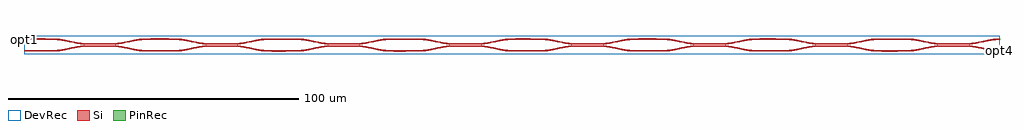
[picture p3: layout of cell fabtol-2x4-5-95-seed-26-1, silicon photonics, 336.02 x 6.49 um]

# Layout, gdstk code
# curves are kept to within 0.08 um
import gdstk
lib = gdstk.Library(unit=1e-6, precision=1e-09)
def R(c, l, rs):  # rectangles x0, y0, x1, y1
    for r in rs: c.add(gdstk.rectangle(r[:2], r[2:], *l))
def P(c, l, *ps):  # polygons
    for p in ps: c.add(gdstk.Polygon(p, *l))
Si = (1, 0)
PinRec = (1, 10)
DevRec = (68, 0)

layer_3_0_phase_sec_0_34 = lib.new_cell('layer-3_0_phase_sec_0$34')
P(layer_3_0_phase_sec_0_34, Si, [(2.728,-0.243),(0,-0.225),(0,0.225),(10,0.225),(10,-0.225)])

layer_0_0_phase_sec_0_34 = lib.new_cell('layer-0_0_phase_sec_0$34')
P(layer_0_0_phase_sec_0_34, Si, [(5.807,-0.242),(0,-0.225),(0,0.225),(10,0.225),(10,-0.225)])

layer_2_0_phase_sec_2_34 = lib.new_cell('layer-2_0_phase_sec_2$34')
P(layer_2_0_phase_sec_2_34, Si, [(7.739,-0.243),(0,-0.225),(0,0.225),(10,0.225),(10,-0.225)])

layer_0_0_phase_sec_1_34 = lib.new_cell('layer-0_0_phase_sec_1$34')
P(layer_0_0_phase_sec_1_34, Si, [(3.482,-0.227),(0,-0.225),(0,0.225),(10,0.225),(10,-0.225)])

layer_2_0_phase_sec_3_34 = lib.new_cell('layer-2_0_phase_sec_3$34')
P(layer_2_0_phase_sec_3_34, Si, [(1.058,-0.236),(0,-0.225),(0,0.225),(10,0.225),(10,-0.225)])

dc_arm_down_34 = lib.new_cell('dc_arm_down$34')
R(dc_arm_down_34, Si, [(12,-0.55,20,-0.1)])
P(dc_arm_down_34, Si, [(32,-2.225),(30.861,-2.188),(29.344,-2.033),(22.966,-0.793),(21.481,-0.613),(20,-0.55),(20,-0.1),(21.139,-0.137),(22.656,-0.292),(29.034,-1.532),(30.519,-1.712),(32,-1.775)],
  [(0,-2.225),(0,-1.775),(1.481,-1.712),(2.966,-1.532),(9.344,-0.292),(10.861,-0.137),(12,-0.1),(12,-0.55),(10.519,-0.613),(9.034,-0.793),(2.656,-2.033),(1.139,-2.188)])

dc_arm_up_34 = lib.new_cell('dc_arm_up$34')
R(dc_arm_up_34, Si, [(12,0.1,20,0.55)])
P(dc_arm_up_34, Si, [(20,0.1),(20,0.55),(21.481,0.613),(22.966,0.793),(29.344,2.033),(30.861,2.188),(32,2.225),(32,1.775),(30.519,1.712),(29.034,1.532),(22.656,0.292),(21.139,0.137)],
  [(12,0.1),(10.861,0.137),(9.344,0.292),(2.966,1.532),(1.481,1.712),(0,1.775),(0,2.225),(1.139,2.188),(2.656,2.033),(9.034,0.793),(10.519,0.613),(12,0.55)])

dc_34 = lib.new_cell('dc$34')
dc_34.add(gdstk.Reference(dc_arm_down_34, (0,0)))
dc_34.add(gdstk.Reference(dc_arm_up_34, (0,0)))

layer_0_0_phase_sec_2_34 = lib.new_cell('layer-0_0_phase_sec_2$34')
P(layer_0_0_phase_sec_2_34, Si, [(1.575,-0.24),(0,-0.225),(0,0.225),(10,0.225),(10,-0.225)])

layer_0_0_phase_sec_3_34 = lib.new_cell('layer-0_0_phase_sec_3$34')
P(layer_0_0_phase_sec_3_34, Si, [(1.109,-0.239),(0,-0.225),(0,0.225),(10,0.225),(10,-0.225)])

layer_1_0_phase_sec_0_34 = lib.new_cell('layer-1_0_phase_sec_0$34')
P(layer_1_0_phase_sec_0_34, Si, [(2.552,-0.228),(0,-0.225),(0,0.225),(10,0.225),(10,-0.225)])

layer_1_0_phase_sec_1_34 = lib.new_cell('layer-1_0_phase_sec_1$34')
P(layer_1_0_phase_sec_1_34, Si, [(1.215,-0.249),(0,-0.225),(0,0.225),(10,0.225),(10,-0.225)])

layer_3_0_phase_sec_1_34 = lib.new_cell('layer-3_0_phase_sec_1$34')
P(layer_3_0_phase_sec_1_34, Si, [(1.368,-0.236),(0,-0.225),(0,0.225),(10,0.225),(10,-0.225)])

layer_1_0_phase_sec_2_34 = lib.new_cell('layer-1_0_phase_sec_2$34')
P(layer_1_0_phase_sec_2_34, Si, [(1.117,-0.233),(0,-0.225),(0,0.225),(10,0.225),(10,-0.225)])

layer_3_0_phase_sec_2_34 = lib.new_cell('layer-3_0_phase_sec_2$34')
P(layer_3_0_phase_sec_2_34, Si, [(1.369,-0.229),(0,-0.225),(0,0.225),(10,0.225),(10,-0.225)])

layer_1_0_phase_sec_3_34 = lib.new_cell('layer-1_0_phase_sec_3$34')
P(layer_1_0_phase_sec_3_34, Si, [(1.345,-0.243),(0,-0.225),(0,0.225),(10,0.225),(10,-0.225)])

layer_3_0_phase_sec_3_34 = lib.new_cell('layer-3_0_phase_sec_3$34')
P(layer_3_0_phase_sec_3_34, Si, [(4.097,-0.251),(0,-0.225),(0,0.225),(10,0.225),(10,-0.225)])

layer_2_0_phase_sec_0_34 = lib.new_cell('layer-2_0_phase_sec_0$34')
P(layer_2_0_phase_sec_0_34, Si, [(2.542,-0.244),(0,-0.225),(0,0.225),(10,0.225),(10,-0.225)])

layer_2_0_phase_sec_1_34 = lib.new_cell('layer-2_0_phase_sec_1$34')
P(layer_2_0_phase_sec_1_34, Si, [(1.378,-0.233),(0,-0.225),(0,0.225),(10,0.225),(10,-0.225)])

fabtol_2x4_5_95_seed_26_ = lib.new_cell('fabtol-2x4-5-95-seed-26-1')
R(fabtol_2x4_5_95_seed_26_, DevRec, [(0,-1,336,5.495)])
fabtol_2x4_5_95_seed_26_.add(gdstk.FlexPath([(335.99,0.251),(336.01,0.251)], 0.45, ends="flush", simple_path=True, layer=1, datatype=10))  # PinRec
fabtol_2x4_5_95_seed_26_.add(gdstk.FlexPath([(335.99,4.251),(336.01,4.251)], 0.45, ends="flush", simple_path=True, layer=1, datatype=10))  # PinRec
fabtol_2x4_5_95_seed_26_.add(gdstk.FlexPath([(0.01,4.251),(-0.01,4.251)], 0.45, ends="flush", simple_path=True, layer=1, datatype=10))  # PinRec
fabtol_2x4_5_95_seed_26_.add(gdstk.Reference(layer_3_0_phase_sec_0_34, (252,4.251)))
fabtol_2x4_5_95_seed_26_.add(gdstk.Reference(layer_0_0_phase_sec_0_34, (0,4.251)))
fabtol_2x4_5_95_seed_26_.add(gdstk.Reference(layer_2_0_phase_sec_2_34, (210,4.251)))
fabtol_2x4_5_95_seed_26_.add(gdstk.Reference(layer_0_0_phase_sec_1_34, (0,0.251)))
fabtol_2x4_5_95_seed_26_.add(gdstk.Reference(layer_2_0_phase_sec_3_34, (210,0.251)))
fabtol_2x4_5_95_seed_26_.add(gdstk.Reference(dc_34, (10,2.251)))
fabtol_2x4_5_95_seed_26_.add(gdstk.Reference(dc_34, (52,2.251)))
fabtol_2x4_5_95_seed_26_.add(gdstk.Reference(dc_34, (94,2.251)))
fabtol_2x4_5_95_seed_26_.add(gdstk.Reference(dc_34, (136,2.251)))
fabtol_2x4_5_95_seed_26_.add(gdstk.Reference(dc_34, (178,2.251)))
fabtol_2x4_5_95_seed_26_.add(gdstk.Reference(dc_34, (220,2.251)))
fabtol_2x4_5_95_seed_26_.add(gdstk.Reference(dc_34, (262,2.251)))
fabtol_2x4_5_95_seed_26_.add(gdstk.Reference(dc_34, (304,2.251)))
fabtol_2x4_5_95_seed_26_.add(gdstk.Reference(layer_0_0_phase_sec_2_34, (42,4.251)))
fabtol_2x4_5_95_seed_26_.add(gdstk.Reference(layer_0_0_phase_sec_3_34, (42,0.251)))
fabtol_2x4_5_95_seed_26_.add(gdstk.Reference(layer_1_0_phase_sec_0_34, (84,4.251)))
fabtol_2x4_5_95_seed_26_.add(gdstk.Reference(layer_1_0_phase_sec_1_34, (84,0.251)))
fabtol_2x4_5_95_seed_26_.add(gdstk.Reference(layer_3_0_phase_sec_1_34, (252,0.251)))
fabtol_2x4_5_95_seed_26_.add(gdstk.Reference(layer_1_0_phase_sec_2_34, (126,4.251)))
fabtol_2x4_5_95_seed_26_.add(gdstk.Reference(layer_3_0_phase_sec_2_34, (294,4.251)))
fabtol_2x4_5_95_seed_26_.add(gdstk.Reference(layer_1_0_phase_sec_3_34, (126,0.251)))
fabtol_2x4_5_95_seed_26_.add(gdstk.Reference(layer_3_0_phase_sec_3_34, (294,0.251)))
fabtol_2x4_5_95_seed_26_.add(gdstk.Reference(layer_2_0_phase_sec_0_34, (168,4.251)))
fabtol_2x4_5_95_seed_26_.add(gdstk.Reference(layer_2_0_phase_sec_1_34, (168,0.251)))
fabtol_2x4_5_95_seed_26_.add(gdstk.Label('opt4', (336,0.251), layer=1, texttype=10))
fabtol_2x4_5_95_seed_26_.add(gdstk.Label('opt3', (336,4.251), layer=1, texttype=10))
fabtol_2x4_5_95_seed_26_.add(gdstk.Label('opt1', (0,4.251), layer=1, texttype=10))

lib.write_gds('fabtol-2x4-5-95-seed-26-1.gds')
